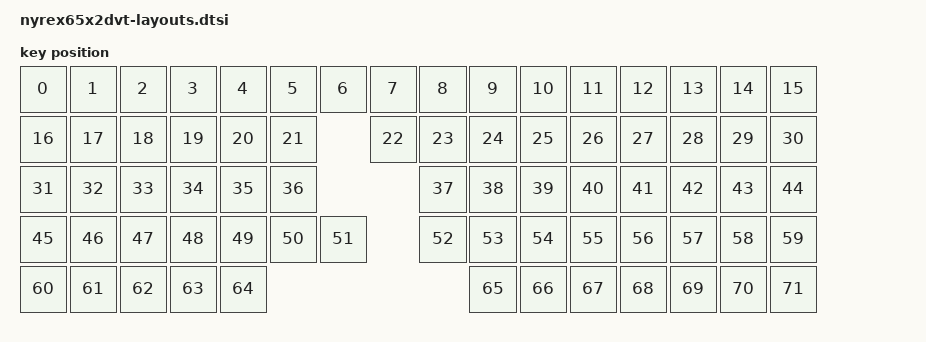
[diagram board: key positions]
#include <physical_layouts.dtsi>

/ {
    physical_layout0: physical_layout_0 {
        compatible = "zmk,physical-layout";
        display-name = "Default Layout";
        transform = <&default_transform>;
        kscan = <&kscan0>;
        keys  //                     w   h    x    y     rot    rx    ry  // R C
            = <&key_physical_attrs 100 100    0    0       0     0     0> // 0 0
            , <&key_physical_attrs 100 100  100    0       0     0     0> // 0 1
            , <&key_physical_attrs 100 100  200    0       0     0     0> // 0 2
            , <&key_physical_attrs 100 100  300    0       0     0     0> // 0 3
            , <&key_physical_attrs 100 100  400    0       0     0     0> // 0 4
            , <&key_physical_attrs 100 100  500    0       0     0     0> // 0 5
            , <&key_physical_attrs 100 100  600    0       0     0     0> // 0 6
            , <&key_physical_attrs 100 100  700    0       0     0     0> // 0 7
            , <&key_physical_attrs 100 100  800    0       0     0     0> // 0 8
            , <&key_physical_attrs 100 100  900    0       0     0     0> // 0 9
            , <&key_physical_attrs 100 100 1000    0       0     0     0> // 0 10
            , <&key_physical_attrs 100 100 1100    0       0     0     0> // 0 11
            , <&key_physical_attrs 100 100 1200    0       0     0     0> // 0 12
            , <&key_physical_attrs 100 100 1300    0       0     0     0> // 0 13
            , <&key_physical_attrs 100 100 1400    0       0     0     0> // 0 14
            , <&key_physical_attrs 100 100 1500    0       0     0     0> // 0 15
            , <&key_physical_attrs 100 100    0  100       0     0     0> // 1 0
            , <&key_physical_attrs 100 100  100  100       0     0     0> // 1 1
            , <&key_physical_attrs 100 100  200  100       0     0     0> // 1 2
            , <&key_physical_attrs 100 100  300  100       0     0     0> // 1 3
            , <&key_physical_attrs 100 100  400  100       0     0     0> // 1 4
            , <&key_physical_attrs 100 100  500  100       0     0     0> // 1 5
          //, <&key_physical_attrs 100 100  600  100       0     0     0> // 1 6
            , <&key_physical_attrs 100 100  700  100       0     0     0> // 1 7
            , <&key_physical_attrs 100 100  800  100       0     0     0> // 1 8
            , <&key_physical_attrs 100 100  900  100       0     0     0> // 1 9
            , <&key_physical_attrs 100 100 1000  100       0     0     0> // 1 10
            , <&key_physical_attrs 100 100 1100  100       0     0     0> // 1 11
            , <&key_physical_attrs 100 100 1200  100       0     0     0> // 1 12
            , <&key_physical_attrs 100 100 1300  100       0     0     0> // 1 13
            , <&key_physical_attrs 100 100 1400  100       0     0     0> // 1 14
            , <&key_physical_attrs 100 100 1500  100       0     0     0> // 1 15
            , <&key_physical_attrs 100 100    0  200       0     0     0> // 2 0
            , <&key_physical_attrs 100 100  100  200       0     0     0> // 2 1
            , <&key_physical_attrs 100 100  200  200       0     0     0> // 2 2
            , <&key_physical_attrs 100 100  300  200       0     0     0> // 2 3
            , <&key_physical_attrs 100 100  400  200       0     0     0> // 2 4
            , <&key_physical_attrs 100 100  500  200       0     0     0> // 2 5
          //, <&key_physical_attrs 100 100  600  200       0     0     0> // 2 6
          //, <&key_physical_attrs 100 100  700  200       0     0     0> // 2 7
            , <&key_physical_attrs 100 100  800  200       0     0     0> // 2 8
            , <&key_physical_attrs 100 100  900  200       0     0     0> // 2 9
            , <&key_physical_attrs 100 100 1000  200       0     0     0> // 2 10
            , <&key_physical_attrs 100 100 1100  200       0     0     0> // 2 11
            , <&key_physical_attrs 100 100 1200  200       0     0     0> // 2 12
            , <&key_physical_attrs 100 100 1300  200       0     0     0> // 2 13
            , <&key_physical_attrs 100 100 1400  200       0     0     0> // 2 14
            , <&key_physical_attrs 100 100 1500  200       0     0     0> // 2 15
            , <&key_physical_attrs 100 100    0  300       0     0     0> // 3 0
            , <&key_physical_attrs 100 100  100  300       0     0     0> // 3 1
            , <&key_physical_attrs 100 100  200  300       0     0     0> // 3 2
            , <&key_physical_attrs 100 100  300  300       0     0     0> // 3 3
            , <&key_physical_attrs 100 100  400  300       0     0     0> // 3 4
            , <&key_physical_attrs 100 100  500  300       0     0     0> // 3 5
            , <&key_physical_attrs 100 100  600  300       0     0     0> // 3 6
          //, <&key_physical_attrs 100 100  700  300       0     0     0> // 3 7
            , <&key_physical_attrs 100 100  800  300       0     0     0> // 3 8
            , <&key_physical_attrs 100 100  900  300       0     0     0> // 3 9
            , <&key_physical_attrs 100 100 1000  300       0     0     0> // 3 10
            , <&key_physical_attrs 100 100 1100  300       0     0     0> // 3 11
            , <&key_physical_attrs 100 100 1200  300       0     0     0> // 3 12
            , <&key_physical_attrs 100 100 1300  300       0     0     0> // 3 13
            , <&key_physical_attrs 100 100 1400  300       0     0     0> // 3 14
            , <&key_physical_attrs 100 100 1500  300       0     0     0> // 3 15
            , <&key_physical_attrs 100 100    0  400       0     0     0> // 4 0
            , <&key_physical_attrs 100 100  100  400       0     0     0> // 4 1
            , <&key_physical_attrs 100 100  200  400       0     0     0> // 4 2
            , <&key_physical_attrs 100 100  300  400       0     0     0> // 4 3
            , <&key_physical_attrs 100 100  400  400       0     0     0> // 4 4
          //, <&key_physical_attrs 100 100  500  400       0     0     0> // 4 5
          //, <&key_physical_attrs 100 100  600  400       0     0     0> // 4 6
          //, <&key_physical_attrs 100 100  700  400       0     0     0> // 4 7
          //, <&key_physical_attrs 100 100  800  400       0     0     0> // 4 8
            , <&key_physical_attrs 100 100  900  400       0     0     0> // 4 9
            , <&key_physical_attrs 100 100 1000  400       0     0     0> // 4 10
            , <&key_physical_attrs 100 100 1100  400       0     0     0> // 4 11
            , <&key_physical_attrs 100 100 1200  400       0     0     0> // 4 12
            , <&key_physical_attrs 100 100 1300  400       0     0     0> // 4 13
            , <&key_physical_attrs 100 100 1400  400       0     0     0> // 4 14
            , <&key_physical_attrs 100 100 1500  400       0     0     0> // 4 15
            ;
    };
};

 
